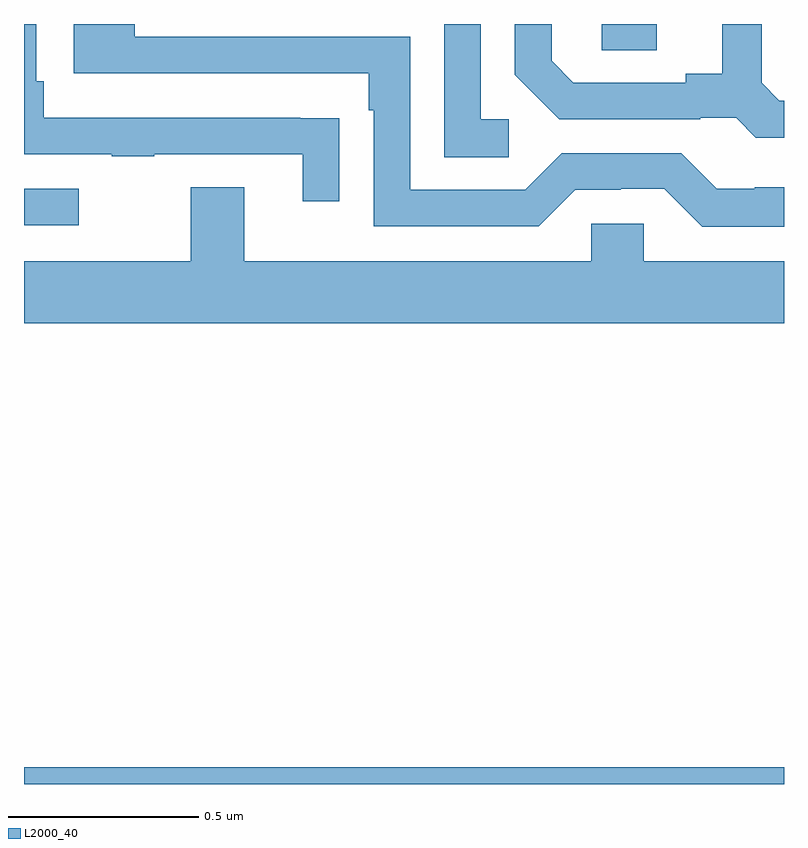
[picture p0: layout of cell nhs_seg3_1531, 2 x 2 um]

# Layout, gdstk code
import gdstk
lib = gdstk.Library(unit=1e-6, precision=1e-09)
def R(c, l, rs):  # rectangles x0, y0, x1, y1
    for r in rs: c.add(gdstk.rectangle(r[:2], r[2:], *l))
def P(c, l, *ps):  # polygons
    for p in ps: c.add(gdstk.Polygon(p, *l))
L2000_40 = (2000, 40)

nhs_seg3_1531 = lib.new_cell('nhs_seg3_1531')
R(nhs_seg3_1531, L2000_40, [(130,670.4,132,670.444), (130,671.871,130.144,671.967), (131.52,672.331,131.665,672.4)])
P(nhs_seg3_1531, L2000_40, [(130.829,672.152),(130.727,672.152),(130.727,672.153),(130.052,672.153),(130.052,672.25),(130.032,672.25),(130.032,672.4),(130,672.4),(130,672.057),(130.231,672.057),(130.231,672.052),(130.343,672.052),(130.343,672.057),(130.733,672.057),(130.733,671.934),(130.829,671.934)],
  [(132,672.198),(131.988,672.198),(131.941,672.245),(131.941,672.4),(131.837,672.4),(131.837,672.269),(131.741,672.269),(131.741,672.246),(131.446,672.246),(131.389,672.303),(131.389,672.4),(131.292,672.4),(131.292,672.266),(131.408,672.15),(131.78,672.15),(131.78,672.153),(131.874,672.153),(131.926,672.101),(132,672.101)],
  [(132,671.971),(131.923,671.971),(131.923,671.967),(131.823,671.967),(131.73,672.06),(131.415,672.06),(131.319,671.964),(131.016,671.964),(131.016,672.366),(130.292,672.366),(130.292,672.4),(130.131,672.4),(130.131,672.27),(130.907,672.27),(130.907,672.173),(130.92,672.173),(130.92,671.868),(131.355,671.868),(131.451,671.964),(131.57,671.964),(131.57,671.967),(131.685,671.967),(131.785,671.867),(132,671.867)],
  [(131.275,672.15),(131.202,672.15),(131.202,672.4),(131.106,672.4),(131.106,672.049),(131.275,672.049)],
  [(132,671.776),(131.631,671.776),(131.631,671.874),(131.493,671.874),(131.493,671.776),(130.579,671.776),(130.579,671.971),(130.439,671.971),(130.439,671.776),(130,671.776),(130,671.612),(132,671.612)])

lib.write_gds('nhs_seg3_1531.gds')
